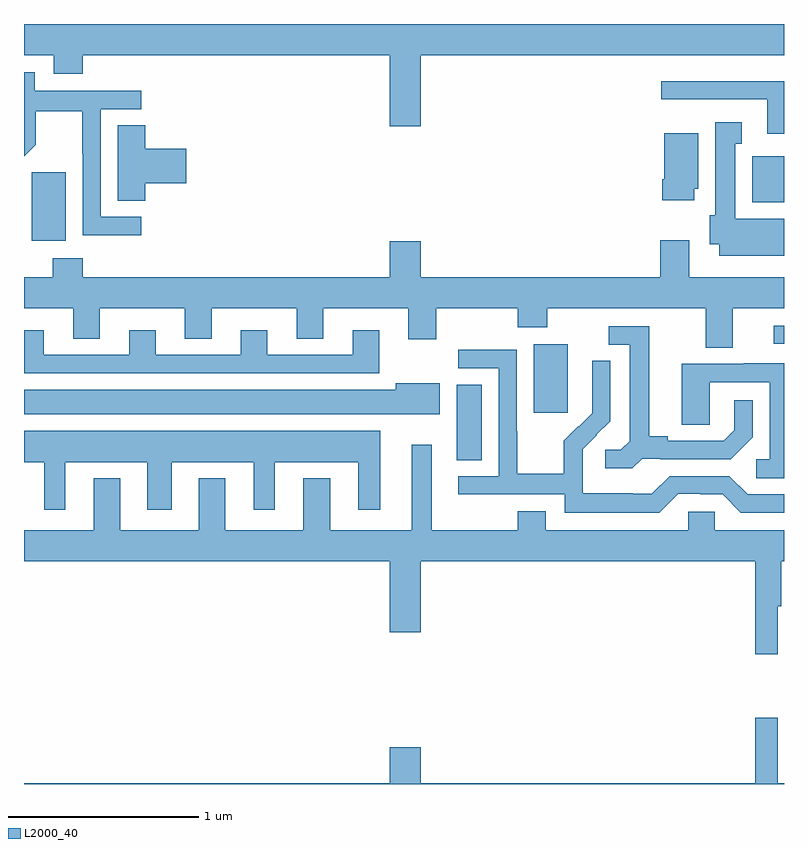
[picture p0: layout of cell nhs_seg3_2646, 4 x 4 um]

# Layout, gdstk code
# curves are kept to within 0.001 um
import gdstk
lib = gdstk.Library(unit=1e-6, precision=1e-09)
def R(c, l, rs):  # rectangles x0, y0, x1, y1
    for r in rs: c.add(gdstk.rectangle(r[:2], r[2:], *l))
def P(c, l, *ps):  # polygons
    for p in ps: c.add(gdstk.Polygon(p, *l))
L2000_40 = (2000, 40)

nhs_seg3_2646 = lib.new_cell('nhs_seg3_2646')
R(nhs_seg3_2646, L2000_40, [(249.278,712.105,249.409,712.502), (249.683,712.353,249.862,712.714), (250.947,712.716,251,712.812), (247.04,713.258,247.219,713.619), (250.832,713.462,251,713.704)])
P(nhs_seg3_2646, L2000_40, [(249.088,714.236),(251,714.236),(251,714.4),(247,714.4),(247,714.236),(247.157,714.236),(247.157,714.137),(247.31,714.137),(247.31,714.236),(248.924,714.236),(248.924,713.862),(249.088,713.862)],
  [(247.618,713.385),(247.404,713.385),(247.404,713.952),(247.618,713.952),(247.618,714.048),(247.056,714.048),(247.056,714.145),(247,714.145),(247,713.704),(247.061,713.765),(247.061,713.94),(247.306,713.94),(247.306,713.716),(247.308,713.716),(247.308,713.287),(247.618,713.287)],
  [(251,714.1),(250.353,714.1),(250.353,714.003),(250.913,714.003),(250.913,713.822),(251,713.822)],
  [(251,713.374),(250.744,713.374),(250.744,713.771),(250.777,713.771),(250.777,713.884),(250.637,713.884),(250.637,713.394),(250.61,713.394),(250.61,713.24),(250.658,713.24),(250.658,713.18),(251,713.18)],
  [(247.637,713.561),(247.855,713.561),(247.855,713.744),(247.637,713.744),(247.637,713.867),(247.493,713.867),(247.493,713.47),(247.637,713.47)],
  [(250.528,713.532),(250.549,713.532),(250.549,713.824),(250.37,713.824),(250.37,713.584),(250.358,713.584),(250.358,713.472),(250.528,713.472)],
  [(249.088,713.257),(248.924,713.257),(248.924,713.068),(247.31,713.068),(247.31,713.167),(247.15,713.167),(247.15,713.068),(247,713.068),(247,712.904),(247.259,712.904),(247.259,712.744),(247.399,712.744),(247.399,712.904),(247.847,712.904),(247.847,712.744),(247.987,712.744),(247.987,712.904),(248.435,712.904),(248.435,712.744),(248.575,712.744),(248.575,712.904),(249.023,712.904),(249.023,712.74),(249.171,712.74),(249.171,712.904),(249.598,712.904),(249.598,712.805),(249.753,712.805),(249.753,712.904),(250.589,712.904),(250.589,712.696),(250.729,712.696),(250.729,712.904),(251,712.904),(251,713.068),(250.501,713.068),(250.501,713.263),(250.349,713.263),(250.349,713.068),(249.088,713.068)],
  [(250.254,712.113),(250.348,712.113),(250.348,712.11),(250.72,712.11),(250.836,712.226),(250.836,712.42),(250.739,712.42),(250.739,712.263),(250.682,712.206),(250.387,712.206),(250.387,712.229),(250.291,712.229),(250.291,712.809),(250.077,712.809),(250.077,712.713),(250.187,712.713),(250.187,712.205),(250.14,712.158),(250.059,712.158),(250.059,712.061),(250.202,712.061)],
  [(248.869,712.789),(248.729,712.789),(248.729,712.659),(248.281,712.659),(248.281,712.789),(248.141,712.789),(248.141,712.659),(247.693,712.659),(247.693,712.789),(247.553,712.789),(247.553,712.659),(247.105,712.659),(247.105,712.789),(247,712.789),(247,712.563),(248.869,712.563)],
  [(250.443,711.927),(250.559,711.927),(250.559,711.924),(250.677,711.924),(250.773,711.828),(251,711.828),(251,711.924),(250.809,711.924),(250.713,712.02),(250.398,712.02),(250.305,711.927),(250.205,711.927),(250.205,711.931),(249.942,711.931),(249.942,712.065),(249.94,712.065),(249.94,712.162),(250.086,712.31),(250.086,712.628),(249.99,712.628),(249.99,712.474),(249.992,712.474),(249.992,712.352),(249.921,712.281),(249.918,712.284),(249.841,712.207),(249.841,712.033),(249.597,712.033),(249.597,712.256),(249.594,712.256),(249.594,712.686),(249.285,712.686),(249.285,712.587),(249.498,712.587),(249.498,712.02),(249.285,712.02),(249.285,711.924),(249.846,711.924),(249.846,711.827),(250.343,711.827)],
  [(251,712.615),(250.787,712.615),(250.787,712.611),(250.463,712.611),(250.463,712.291),(250.608,712.291),(250.608,712.515),(250.926,712.515),(250.926,712.11),(250.854,712.11),(250.854,712.009),(251,712.009)],
  [(249.187,712.51),(248.957,712.51),(248.957,712.474),(247,712.474),(247,712.346),(249.187,712.346)],
  [(247.216,712.094),(247.649,712.094),(247.649,711.843),(247.777,711.843),(247.777,712.094),(248.21,712.094),(248.21,711.843),(248.32,711.843),(248.32,712.094),(248.759,712.094),(248.759,711.843),(248.875,711.843),(248.875,712.258),(247,712.258),(247,712.094),(247.106,712.094),(247.106,711.843),(247.216,711.843)],
  [(250.967,711.336),(250.985,711.336),(250.985,711.572),(251,711.572),(251,711.736),(250.635,711.736),(250.635,711.834),(250.497,711.834),(250.497,711.736),(249.745,711.736),(249.745,711.835),(249.598,711.835),(249.598,711.736),(249.145,711.736),(249.145,712.186),(249.041,712.186),(249.041,711.736),(248.611,711.736),(248.611,712.009),(248.471,712.009),(248.471,711.736),(248.059,711.736),(248.059,712.009),(247.919,712.009),(247.919,711.736),(247.507,711.736),(247.507,712.009),(247.367,712.009),(247.367,711.736),(247,711.736),(247,711.572),(248.924,711.572),(248.924,711.198),(249.088,711.198),(249.088,711.572),(250.849,711.572),(250.849,711.084),(250.967,711.084)],
  [(251,710.404),(250.966,710.404),(250.966,710.749),(250.849,710.749),(250.849,710.404),(249.088,710.404),(249.088,710.593),(248.924,710.593),(248.924,710.404),(247,710.404),(247,710.4),(251,710.4)])

lib.write_gds('nhs_seg3_2646.gds')
